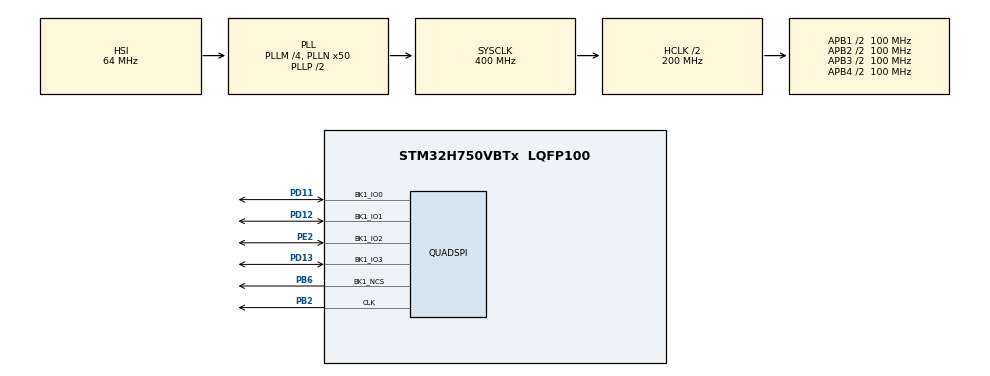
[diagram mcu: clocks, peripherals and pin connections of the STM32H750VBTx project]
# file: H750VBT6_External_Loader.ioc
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Mcu.Family=STM32H7
Mcu.Name=STM32H750VBTx
Mcu.Package=LQFP100
Mcu.UserConstants=QSPI_FLASH_SIZE_2N_OFFSET,0
NVIC.PriorityGroup=NVIC_PRIORITYGROUP_4
PA13\ (JTMS/SWDIO).Mode=Serial_Wire
PA13\ (JTMS/SWDIO).Signal=DEBUG_JTMS-SWDIO
PA14\ (JTCK/SWCLK).Mode=Serial_Wire
PA14\ (JTCK/SWCLK).Signal=DEBUG_JTCK-SWCLK
PB2.GPIO_Speed=GPIO_SPEED_FREQ_VERY_HIGH
PB2.Mode=Single Bank 1
PB2.Signal=QUADSPI_CLK
PB6.GPIO_PuPd=GPIO_NOPULL
PB6.GPIO_Speed=GPIO_SPEED_FREQ_VERY_HIGH
PB6.Mode=Single Bank 1
PB6.Signal=QUADSPI_BK1_NCS
PD11.GPIO_Speed=GPIO_SPEED_FREQ_VERY_HIGH
PD11.Mode=Single Bank 1
PD11.Signal=QUADSPI_BK1_IO0
PD12.GPIO_Speed=GPIO_SPEED_FREQ_VERY_HIGH
PD12.Mode=Single Bank 1
PD12.Signal=QUADSPI_BK1_IO1
PD13.GPIO_Speed=GPIO_SPEED_FREQ_VERY_HIGH
PD13.Mode=Single Bank 1
PD13.Signal=QUADSPI_BK1_IO3
PE2.GPIO_Speed=GPIO_SPEED_FREQ_VERY_HIGH
PE2.Mode=Single Bank 1
PE2.Signal=QUADSPI_BK1_IO2
ProjectManager.HeapSize=0x200
ProjectManager.StackSize=0x400
ProjectManager.TargetToolchain=STM32CubeIDE
QUADSPI.ChipSelectHighTime=QSPI_CS_HIGH_TIME_2_CYCLE
QUADSPI.ClockPrescaler=1
QUADSPI.FifoThreshold=32
QUADSPI.FlashSize=QSPI_FLASH_SIZE_2N_OFFSET
QUADSPI.SampleShifting=QSPI_SAMPLE_SHIFTING_HALFCYCLE
RCC.ADCFreq_Value=129000000
RCC.APB1Freq_Value=100000000
RCC.APB2Freq_Value=100000000
RCC.APB3Freq_Value=100000000
RCC.APB4Freq_Value=100000000
RCC.CortexFreq_Value=400000000
RCC.D1PPRE=RCC_APB3_DIV2
RCC.D2PPRE1=RCC_APB1_DIV2
RCC.D2PPRE2=RCC_APB2_DIV2
RCC.D3PPRE=RCC_APB4_DIV2
RCC.DIVM1=4
RCC.DIVN1=50
RCC.HCLKFreq_Value=200000000
RCC.HPRE=RCC_HCLK_DIV2
RCC.SYSCLKFreq_VALUE=400000000
RCC.SYSCLKSource=RCC_SYSCLKSOURCE_PLLCLK
RCC.USBFreq_Value=400000000
board=custom

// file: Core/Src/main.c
/* USER CODE BEGIN Header */
/**
  ******************************************************************************
  * @file           : main.c
  * @brief          : Main program body
  ******************************************************************************
  * @attention
  *
  * <h2><center>&copy; Copyright (c) 2022 STMicroelectronics.
  * All rights reserved.</center></h2>
  *
  * This software component is licensed by ST under BSD 3-Clause license,
  * the "License"; You may not use this file except in compliance with the
  * License. You may obtain a copy of the License at:
  *                        opensource.org/licenses/BSD-3-Clause
  *
  ******************************************************************************
  */
/* USER CODE END Header */
#include "main.h"
#include "quadspi.h"
#include "gpio.h"

/* USER CODE BEGIN PM */
#define ENABLE_INT()	__set_PRIMASK(0)	/* 使能全局中断 */
#define DISABLE_INT()	__set_PRIMASK(1)	/* 禁止全局中断 */
/* USER CODE END PM */

void SystemClock_Config(void);
/* USER CODE BEGIN PFP */
static void JumpToApp(void);
/* USER CODE END PFP */

/* USER CODE BEGIN 0 */
#include <string.h>
#define SECTORS_COUNT 100
/* USER CODE END 0 */

int main(void)
{

  /* MCU Configuration--------------------------------------------------------*/

  /* Reset of all peripherals, Initializes the Flash interface and the Systick. */
  HAL_Init();

  /* Configure the system clock */
  SystemClock_Config();

  /* Initialize all configured peripherals */
  MX_GPIO_Init();
  MX_QUADSPI_Init();
  /* USER CODE BEGIN 2 */

  uint8_t buffer_test[MEMORY_SECTOR_SIZE];
  uint32_t var = 0;

	CSP_QUADSPI_Init();

	for (var = 0; var < MEMORY_SECTOR_SIZE; var++) {
		buffer_test[var] = (var & 0xff);
	}

	for (var = 0; var < SECTORS_COUNT; var++) {

		if (CSP_QSPI_EraseSector(var * MEMORY_SECTOR_SIZE,
				(var + 1) * MEMORY_SECTOR_SIZE - 1) != HAL_OK) {

			while (1)
				;  //breakpoint - error detected
		}

		if (CSP_QSPI_WriteMemory(buffer_test, var * MEMORY_SECTOR_SIZE,
				sizeof(buffer_test)) != HAL_OK) {

			while (1)
				;  //breakpoint - error detected
		}

	}

	if (CSP_QSPI_EnableMemoryMappedMode() != HAL_OK) {

		while (1)
			; //breakpoint - error detected
	}

	for (var = 0; var < SECTORS_COUNT; var++) {
		if (memcmp(buffer_test,
				(uint8_t*) (0x90000000 + var * MEMORY_SECTOR_SIZE),
				MEMORY_SECTOR_SIZE) != HAL_OK) {
			while (1)
				;  //breakpoint - error detected - otherwise QSPI works properly
		}
	}

  /* USER CODE END 2 */
  JumpToApp();
  /* Infinite loop */
  while (1)
  {

  }
}

void SystemClock_Config(void)
{
  RCC_OscInitTypeDef RCC_OscInitStruct = {0};
  RCC_ClkInitTypeDef RCC_ClkInitStruct = {0};

  /** Supply configuration update enable
  */
  HAL_PWREx_ConfigSupply(PWR_LDO_SUPPLY);
  /** Configure the main internal regulator output voltage
  */
  __HAL_PWR_VOLTAGESCALING_CONFIG(PWR_REGULATOR_VOLTAGE_SCALE1);

  while(!__HAL_PWR_GET_FLAG(PWR_FLAG_VOSRDY)) {}
  /** Initializes the RCC Oscillators according to the specified parameters
  * in the RCC_OscInitTypeDef structure.
  */
  RCC_OscInitStruct.OscillatorType = RCC_OSCILLATORTYPE_HSI;
  RCC_OscInitStruct.HSIState = RCC_HSI_DIV1;
  RCC_OscInitStruct.HSICalibrationValue = RCC_HSICALIBRATION_DEFAULT;
  RCC_OscInitStruct.PLL.PLLState = RCC_PLL_ON;
  RCC_OscInitStruct.PLL.PLLSource = RCC_PLLSOURCE_HSI;
  RCC_OscInitStruct.PLL.PLLM = 4;
  RCC_OscInitStruct.PLL.PLLN = 50;
  RCC_OscInitStruct.PLL.PLLP = 2;
  RCC_OscInitStruct.PLL.PLLQ = 2;
  RCC_OscInitStruct.PLL.PLLR = 2;
  RCC_OscInitStruct.PLL.PLLRGE = RCC_PLL1VCIRANGE_3;
  RCC_OscInitStruct.PLL.PLLVCOSEL = RCC_PLL1VCOWIDE;
  RCC_OscInitStruct.PLL.PLLFRACN = 0;
  if (HAL_RCC_OscConfig(&RCC_OscInitStruct) != HAL_OK)
  {
    Error_Handler();
  }
  /** Initializes the CPU, AHB and APB buses clocks
  */
  RCC_ClkInitStruct.ClockType = RCC_CLOCKTYPE_HCLK|RCC_CLOCKTYPE_SYSCLK
                              |RCC_CLOCKTYPE_PCLK1|RCC_CLOCKTYPE_PCLK2
                              |RCC_CLOCKTYPE_D3PCLK1|RCC_CLOCKTYPE_D1PCLK1;
  RCC_ClkInitStruct.SYSCLKSource = RCC_SYSCLKSOURCE_PLLCLK;
  RCC_ClkInitStruct.SYSCLKDivider = RCC_SYSCLK_DIV1;
  RCC_ClkInitStruct.AHBCLKDivider = RCC_HCLK_DIV2;
  RCC_ClkInitStruct.APB3CLKDivider = RCC_APB3_DIV2;
  RCC_ClkInitStruct.APB1CLKDivider = RCC_APB1_DIV2;
  RCC_ClkInitStruct.APB2CLKDivider = RCC_APB2_DIV2;
  RCC_ClkInitStruct.APB4CLKDivider = RCC_APB4_DIV2;

  if (HAL_RCC_ClockConfig(&RCC_ClkInitStruct, FLASH_LATENCY_2) != HAL_OK)
  {
    Error_Handler();
  }
}

/* USER CODE BEGIN 4 */
static void JumpToApp(void)
{
	uint32_t i=0;
	void (*AppJump)(void);         /* 声明一个函数指针 */
//	__IO uint32_t AppAddr = 0x90000000;  /* APP 地址 */
	volatile uint32_t AppAddr = 0x90000000;  /* APP 地址 */

    /* 关闭全局中断 */
	DISABLE_INT();

    /* 设置所有时钟到默认状态，使用HSI时钟 */
	HAL_RCC_DeInit();

	/* 关闭滴答定时器，复位到默认值 */
	SysTick->CTRL = 0;
    SysTick->LOAD = 0;
    SysTick->VAL = 0;

	/* 关闭所有中断，清除所有中断挂起标志 */
	for (i = 0; i < 8; i++)
	{
		NVIC->ICER[i]=0xFFFFFFFF;
		NVIC->ICPR[i]=0xFFFFFFFF;
	}

	/* 使能全局中断 */
	ENABLE_INT();

	/* 跳转到应用程序，首地址是MSP，地址+4是复位中断服务程序地址 */
	AppJump = (void (*)(void)) (*((uint32_t *) (AppAddr + 4)));

	/* 设置主堆栈指针 */
	__set_MSP(*(uint32_t *)AppAddr);

	/* 在RTOS工程，这条语句很重要，设置为特权级模式，使用MSP指针 */
	__set_CONTROL(0);

	/* 跳转到系统BootLoader */
	AppJump();

	/* 跳转成功的话，不会执行到这里，用户可以在这里添加代码 */
	while (1)
	{
		;
	}
}
/* USER CODE END 4 */

void Error_Handler(void)
{
  __disable_irq();
  while (1)
  {
  }
}

/************************ (C) COPYRIGHT STMicroelectronics *****END OF FILE****/
